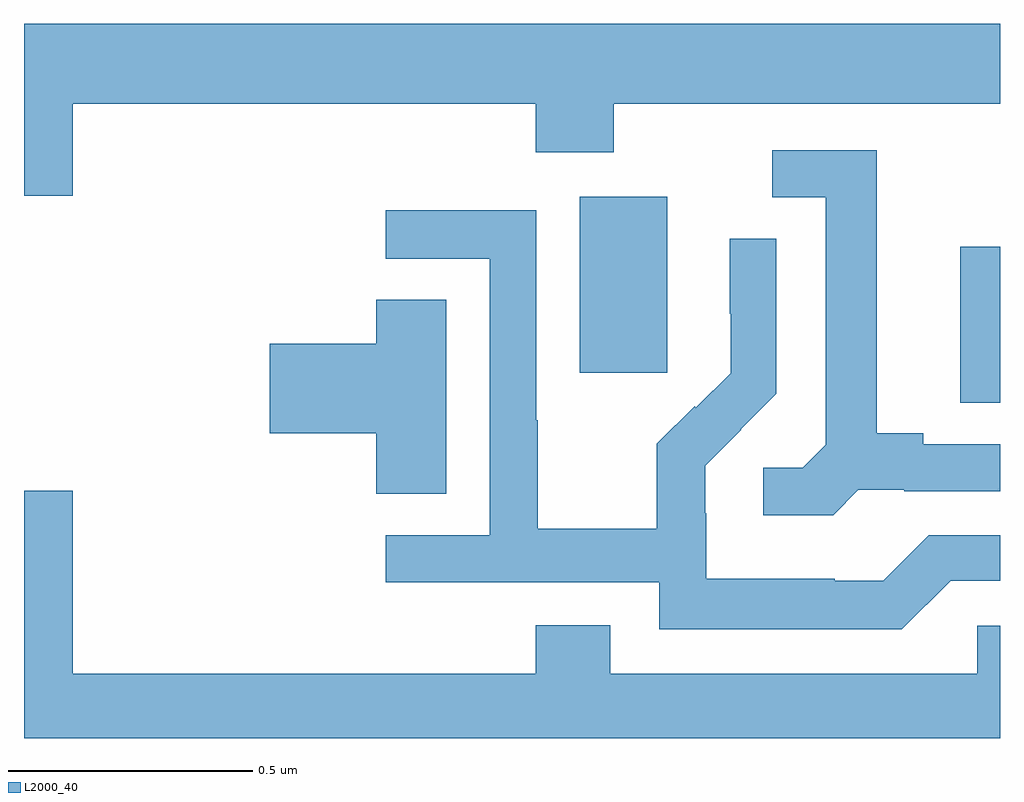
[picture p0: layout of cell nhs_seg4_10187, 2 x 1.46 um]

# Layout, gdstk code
import gdstk
lib = gdstk.Library(unit=1e-6, precision=1e-09)
def R(c, l, rs):  # rectangles x0, y0, x1, y1
    for r in rs: c.add(gdstk.rectangle(r[:2], r[2:], *l))
def P(c, l, *ps):  # polygons
    for p in ps: c.add(gdstk.Polygon(p, *l))
L2000_40 = (2000, 40)

nhs_seg4_10187 = lib.new_cell('nhs_seg4_10187')
R(nhs_seg4_10187, L2000_40, [(238.919,749.587,239,749.907), (238.139,749.649,238.318,750.01)])
P(nhs_seg4_10187, L2000_40, [(237.1,750.2),(238.049,750.2),(238.049,750.101),(238.209,750.101),(238.209,750.2),(239,750.2),(239,750.364),(237,750.364),(237,750.012),(237.1,750.012)],
  [(238.71,749.409),(238.804,749.409),(238.804,749.406),(239,749.406),(239,749.502),(238.843,749.502),(238.843,749.525),(238.747,749.525),(238.747,750.105),(238.533,750.105),(238.533,750.009),(238.643,750.009),(238.643,749.501),(238.596,749.454),(238.515,749.454),(238.515,749.357),(238.658,749.357)],
  [(238.899,749.223),(239,749.223),(239,749.316),(238.854,749.316),(238.761,749.223),(238.661,749.223),(238.661,749.227),(238.398,749.227),(238.398,749.361),(238.396,749.361),(238.396,749.458),(238.47,749.532),(238.469,749.533),(238.542,749.606),(238.542,749.924),(238.446,749.924),(238.446,749.77),(238.448,749.77),(238.448,749.648),(238.377,749.577),(238.374,749.58),(238.297,749.503),(238.297,749.329),(238.053,749.329),(238.053,749.552),(238.05,749.552),(238.05,749.982),(237.741,749.982),(237.741,749.883),(237.954,749.883),(237.954,749.316),(237.741,749.316),(237.741,749.22),(238.302,749.22),(238.302,749.123),(238.799,749.123)],
  [(237.865,749.798),(237.722,749.798),(237.722,749.708),(237.504,749.708),(237.504,749.525),(237.722,749.525),(237.722,749.401),(237.865,749.401)],
  [(239,749.13),(238.953,749.13),(238.953,749.032),(238.201,749.032),(238.201,749.131),(238.049,749.131),(238.049,749.032),(237.1,749.032),(237.1,749.407),(237,749.407),(237,748.9),(239,748.9)])

lib.write_gds('nhs_seg4_10187.gds')
